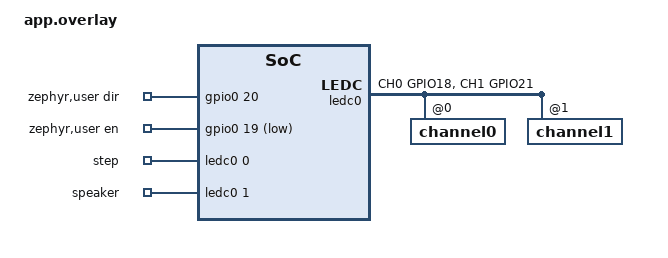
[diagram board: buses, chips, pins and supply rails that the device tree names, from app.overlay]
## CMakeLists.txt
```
cmake_minimum_required(VERSION 3.20.0)
find_package(Zephyr REQUIRED HINTS $ENV{ZEPHYR_BASE})
project(pump_app)
target_sources(app PRIVATE src/main.c src/led.c src/restart.c)
target_sources_ifdef(CONFIG_APP_SPEAKER app PRIVATE src/speaker.c)
target_sources_ifdef(CONFIG_APP_MOTOR app PRIVATE src/motor.c)
```

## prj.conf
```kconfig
# Console + printk are on by default for xiao_esp32c6 (console + shell run over
# the USB-Serial/JTAG port), so this stays minimal. Add Kconfig options here.
CONFIG_SHELL=y
CONFIG_APP_SPEAKER=y

# Motor: the PWM subsystem isn't in the board defconfig, so enable it here. With
# ledc0 "okay" this pulls in the Espressif LEDC PWM driver. GPIO is already on by
# default.
CONFIG_PWM=y
CONFIG_APP_MOTOR=y

# LED: the board's yellow_led sits under a gpio-leds controller, so enable the
# LED subsystem and its GPIO driver to instantiate the device the led_*_dt API
# (in app/src/led.c) binds to.
CONFIG_LED=y
CONFIG_LED_GPIO=y

# Logging: led_start reports a failed LED init via LOG_ERR.
CONFIG_LOG=y
CONFIG_LOG_CMDS=y

# Reboot: the "restart" shell command cold-reboots via sys_reboot().
CONFIG_REBOOT=y
```

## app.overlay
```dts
#include <zephyr/dt-bindings/gpio/gpio.h>
#include <zephyr/dt-bindings/pwm/pwm.h>

/*
 * Pinctrl bindings for the LEDC_CH*_GPIO* pinmux macros used below. A normal
 * build pulls these in transitively via the board devicetree, but the MCUboot
 * DirectXIP slot-1 variant re-applies this overlay on top of the already
 * macro-expanded devicetree, where the defines are gone -- so include them here
 * to keep the overlay self-contained. All three are include-guarded, so this is
 * a no-op in the normal build.
 */
#include <zephyr/dt-bindings/pinctrl/esp-pinctrl-common.h>
#include <zephyr/dt-bindings/pinctrl/esp32c6-pinctrl.h>
#include <zephyr/dt-bindings/pinctrl/esp32c6-gpio-sigmap.h>

/*
 * A4988 stepper control + LEDC speaker tone on the Seeed XIAO ESP32-C6 header
 * (see DESIGN.md). The control/audio lines use the SPI2 pins (D8-D10) plus D3,
 * which keeps the only ADC-capable header pins (D0-D2) free for battery sensing
 * and I2C0 (D4/D5) free for sensors. Re-pin by editing the numbers here; the C
 * in app/src reaches everything through the zephyr,user node.
 *
 *   STEP    = D10 / GPIO18 / LEDC ch0  -- the step pulse train
 *   DIR     = D9  / GPIO20             -- rotation direction (plain out)
 *   EN      = D8  / GPIO19             -- active-low driver enable
 *   speaker = D3  / GPIO21 / LEDC ch1  -- hardware square-wave tone
 */

/*
 * Free D8-D10 (GPIO19/20/18): the board enables spi2 on them by default, but the
 * pump uses I2C + ADC, not SPI, so release the pins for DIR/EN and STEP's PWM.
 */
&spi2 {
	status = "disabled";
};

/*
 * Two LEDC channels: ch0 -> STEP (GPIO18), ch1 -> speaker (GPIO21). They sit on
 * separate timers (0 and 1) so their frequencies are independent -- a timer's
 * frequency is shared by every channel bound to it. The espressif,esp32-ledc
 * binding is #pwm-cells = <3> (channel, period, flags).
 */
&pinctrl {
	ledc0_default: ledc0_default {
		group1 {
			pinmux = <LEDC_CH0_GPIO18>, <LEDC_CH1_GPIO21>;
			output-enable;
		};
	};
};

&ledc0 {
	pinctrl-0 = <&ledc0_default>;
	pinctrl-names = "default";
	status = "okay";
	#address-cells = <1>;
	#size-cells = <0>;

	channel0@0 {
		reg = <0x0>;
		timer = <0>;
	};

	channel1@1 {
		reg = <0x1>;
		timer = <1>;
	};
};

/*
 * Expose the two PWMs (named, so each driver picks the right one) and the A4988
 * direction/enable lines through the standard zephyr,user node. EN is active-low
 * on the A4988, so GPIO_ACTIVE_LOW lets the code treat logical 1 as "driver
 * enabled". Add an external pull-up on EN so the driver stays disabled during
 * boot, before motor_init drives the pin.
 */
/ {
	zephyr,user {
		pwms = <&ledc0 0 PWM_MSEC(1) PWM_POLARITY_NORMAL>,
		       <&ledc0 1 PWM_HZ(440) PWM_POLARITY_NORMAL>;
		pwm-names = "step", "speaker";
		dir-gpios = <&gpio0 20 GPIO_ACTIVE_HIGH>;
		en-gpios = <&gpio0 19 GPIO_ACTIVE_LOW>;
	};
};
```

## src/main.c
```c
#include "led.h"

#include <zephyr/kernel.h>
#include <zephyr/drivers/led.h>
#include <zephyr/logging/log.h>

LOG_MODULE_REGISTER(main, CONFIG_LOG_DEFAULT_LEVEL);

int main(void)
{
	/*
	 * Both are static: the timer lives inside app_led and keeps firing after
	 * main returns, dereferencing app_led and led_spec from the ISR. Stack
	 * storage would be reclaimed on return and the timer would use freed memory.
	 */
	static struct led_dt_spec led_spec = LED_DT_SPEC_GET(DT_NODELABEL(yellow_led));
	static app_led_t app_led = {.config = {
					    .spec = &led_spec,
					    .blink_period_us = 1000000ull,
				    }};

	LOG_INF("starting");

	(void)led_start(&app_led);

	LOG_INF("started");

	return 0;
}
```

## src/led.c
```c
/*
 * Blink the board LED with a periodic kernel timer. The expiry callback runs in
 * the system clock ISR and toggles the GPIO LED every half period; the
 * gpio-leds + esp32 gpio set path uses only irq_lock(), so it is ISR-safe.
 * Nothing polls, so the CPU idles between timer ticks.
 */

#include "led.h"

#include <zephyr/drivers/led.h>
#include <zephyr/logging/log.h>

#include <errno.h>

LOG_MODULE_REGISTER(led, CONFIG_LOG_DEFAULT_LEVEL);

static void on_blink_timer(struct k_timer *timer)
{
	app_led_t *app = CONTAINER_OF(timer, app_led_t, timer);

	app->is_on = !app->is_on;

	if (app->is_on) {
		led_on_dt(app->config.spec);
	} else {
		led_off_dt(app->config.spec);
	}
}

int led_start(app_led_t *app)
{
	if (!led_is_ready_dt(app->config.spec)) {
		LOG_ERR("%s not ready", app->config.spec->dev->name);
		return -ENODEV;
	}

	const k_timeout_t half_period = K_USEC(app->config.blink_period_us / 2);

	k_timer_init(&app->timer, on_blink_timer, NULL);
	k_timer_start(&app->timer, half_period, half_period);

	LOG_INF("started");
	return 0;
}
```

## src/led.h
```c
#pragma once

#include <zephyr/kernel.h>
#include <zephyr/drivers/led.h>

#include <stdbool.h>
#include <stdint.h>

typedef struct {
	struct led_dt_spec *spec;
	uint64_t blink_period_us;
} app_led_config_t;

typedef struct {
	struct k_timer timer;
	app_led_config_t config;
	bool is_on;
} app_led_t;

/* Start a periodic kernel timer that blinks the LED. Returns 0 on success, or
 * -ENODEV (after logging) if the LED device failed to initialize at boot. */
int led_start(app_led_t *app);
```

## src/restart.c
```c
/*
 * "restart" shell command: cold-reboot the SoC so main() re-runs from a clean
 * state. SHELL_CMD_REGISTER self-registers the command at boot via an iterable
 * section, so nothing in the app calls into this file.
 */

#include <zephyr/shell/shell.h>
#include <zephyr/sys/reboot.h>

static int cmd_restart(const struct shell *sh, size_t argc, char **argv)
{
	ARG_UNUSED(argc);
	ARG_UNUSED(argv);

	shell_print(sh, "rebooting...");
	sys_reboot(SYS_REBOOT_COLD);

	return 0; /* not reached: sys_reboot does not return */
}

SHELL_CMD_REGISTER(restart, NULL, "Reboot the board (re-runs main)", cmd_restart);
```
